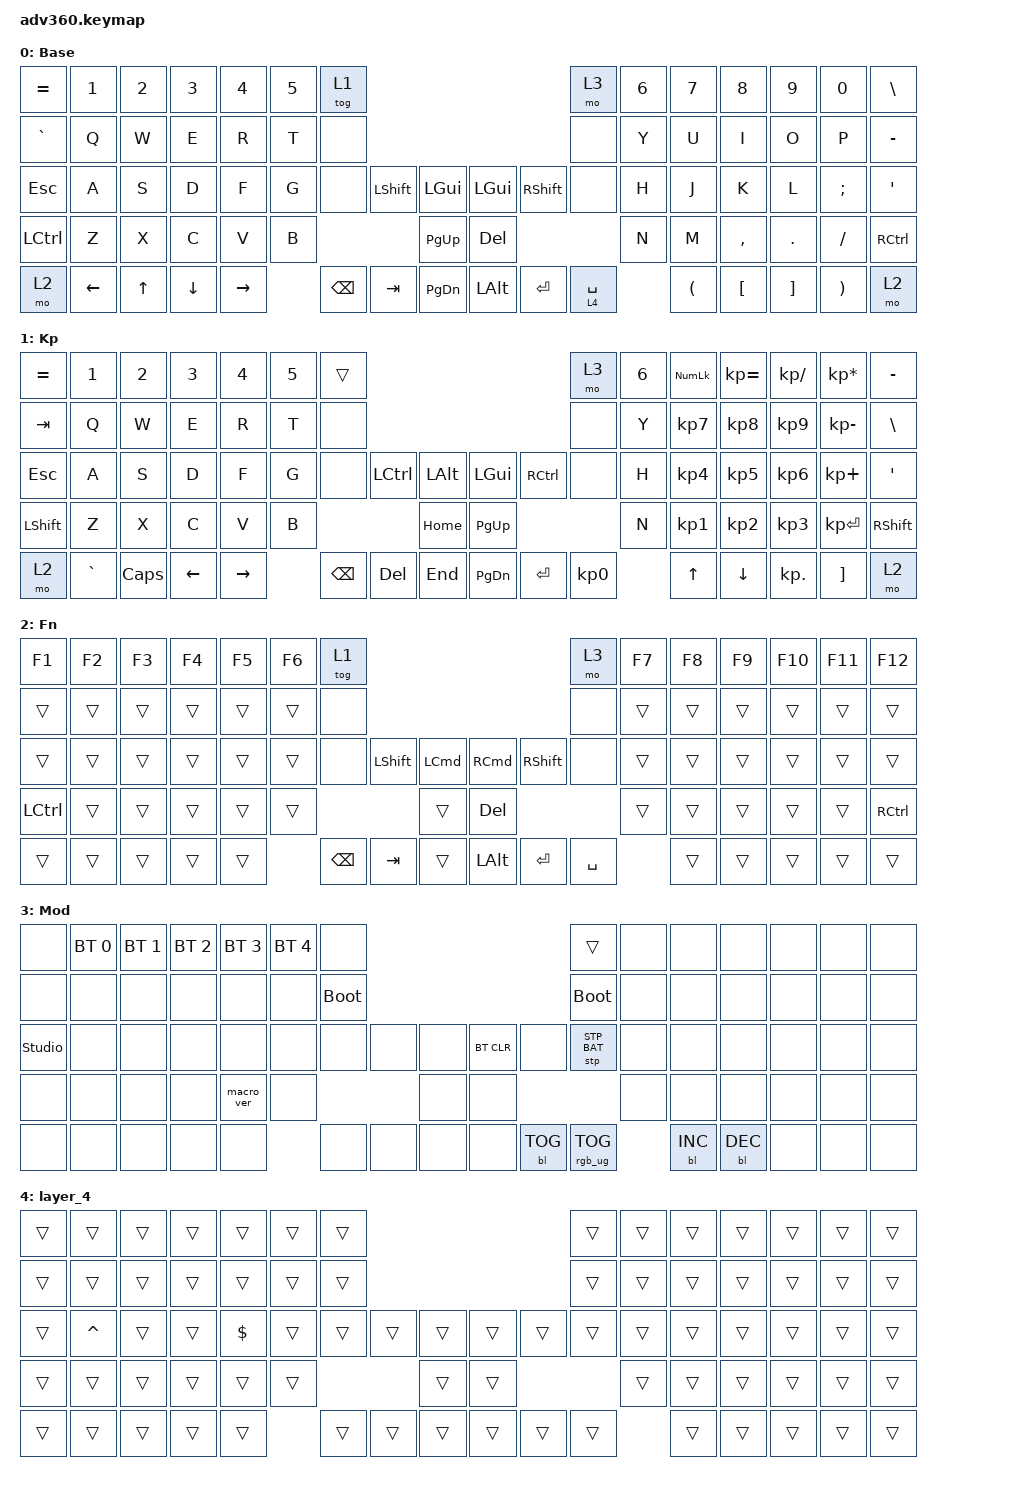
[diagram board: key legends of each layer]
#include <dt-bindings/zmk/stp.h>
#include <behaviors.dtsi>
#include <dt-bindings/zmk/backlight.h>
#include <dt-bindings/zmk/bt.h>
#include <dt-bindings/zmk/keys.h>
#include <dt-bindings/zmk/rgb.h>

/ {
    behaviors {
        #include "macros.dtsi"
      #include "version.dtsi"

        hm: homerow_mods {
            compatible = "zmk,behavior-hold-tap";
            label = "HOMEROW_MODS";
            #binding-cells = <2>;
            tapping-term-ms = <200>;
            quick_tap_ms = <175>;
            flavor = "tap-preferred";
            bindings = <&kp>, <&kp>;
        };

        space_layer_tap: space_layer_tap {
            compatible = "zmk,behavior-hold-tap";
            label = "SPACE_LAYER_TAP";
            bindings = <&mo>, <&kp>;

            #binding-cells = <2>;
            tapping-term-ms = <350>;
            flavor = "tap-preferred";
        };
    };

    keymap {
        compatible = "zmk,keymap";

        default_layer {
            display-name = "Base";
            bindings = <
&kp EQUAL  &kp N1          &kp N2        &kp N3          &kp N4     &kp N5  &tog 1                                                                 &mo 3        &kp N6  &kp N7                &kp N8            &kp N9    &kp N0    &kp BSLH
&kp GRAVE  &kp Q           &kp W         &kp E           &kp R      &kp T   &none                                                                  &none        &kp Y   &kp U                 &kp I             &kp O     &kp P     &kp MINUS
&kp ESC    &kp A           &kp S         &kp D           &kp F      &kp G   &none     &kp LEFT_SHIFT  &kp LGUI           &kp LGUI      &kp RSHIFT  &none        &kp H   &kp J                 &kp K             &kp L     &kp SEMI  &kp SQT
&kp LCTRL  &kp Z           &kp X         &kp C           &kp V      &kp B                             &kp PG_UP          &kp DEL                                &kp N   &kp M                 &kp COMMA         &kp DOT   &kp FSLH  &kp RCTRL
&mo 2      &kp LEFT_ARROW  &kp UP_ARROW  &kp DOWN_ARROW  &kp RIGHT          &kp BSPC  &kp TAB         &kp PAGE_DOWN      &kp LEFT_ALT  &kp ENTER   &lt 4 SPACE          &kp LEFT_PARENTHESIS  &kp LEFT_BRACKET  &kp RBKT  &kp RPAR  &mo 2
            >;
        };

        keypad {
            display-name = "Kp";
            bindings = <
&kp EQUAL  &kp N1     &kp N2    &kp N3    &kp N4     &kp N5  &trans                                                   &mo 3      &kp N6  &kp KP_NUM  &kp KP_EQUAL  &kp KP_DIVIDE  &kp KP_MULTIPLY  &kp MINUS
&kp TAB    &kp Q      &kp W     &kp E     &kp R      &kp T   &none                                                    &none      &kp Y   &kp KP_N7   &kp KP_N8     &kp KP_N9      &kp KP_MINUS     &kp BSLH
&kp ESC    &kp A      &kp S     &kp D     &kp F      &kp G   &none     &kp LCTRL  &kp LALT      &kp LGUI   &kp RCTRL  &none      &kp H   &kp KP_N4   &kp KP_N5     &kp KP_N6      &kp KP_PLUS      &kp SQT
&kp LSHFT  &kp Z      &kp X     &kp C     &kp V      &kp B                        &kp HOME      &kp PG_UP                        &kp N   &kp KP_N1   &kp KP_N2     &kp KP_N3      &kp KP_ENTER     &kp RSHFT
&mo 2      &kp GRAVE  &kp CAPS  &kp LEFT  &kp RIGHT          &kp BSPC  &kp DEL    &kp END       &kp PG_DN  &kp ENTER  &kp KP_N0          &kp UP      &kp DOWN      &kp KP_DOT     &kp RBKT         &mo 2
            >;
        };

        fn {
            display-name = "Fn";
            bindings = <
&kp F1            &kp F2  &kp F3  &kp F4  &kp F5  &kp F6  &tog 1                                                                                   &mo 3      &kp F7  &kp F8  &kp F9  &kp F10  &kp F11  &kp F12
&trans            &trans  &trans  &trans  &trans  &trans  &none                                                                                    &none      &trans  &trans  &trans  &trans   &trans   &trans
&trans            &trans  &trans  &trans  &trans  &trans  &none          &kp LEFT_SHIFT  &kp LEFT_COMMAND      &kp RIGHT_COMMAND  &kp RIGHT_SHIFT  &none      &trans  &trans  &trans  &trans   &trans   &trans
&kp LEFT_CONTROL  &trans  &trans  &trans  &trans  &trans                                 &trans                &kp DELETE                                     &trans  &trans  &trans  &trans   &trans   &kp RCTRL
&trans            &trans  &trans  &trans  &trans          &kp BACKSPACE  &kp TAB         &trans                &kp LEFT_ALT       &kp RET          &kp SPACE          &trans  &trans  &trans   &trans   &trans
            >;
        };

        mod {
            display-name = "Mod";
            bindings = <
&none           &bt BT_SEL 0  &bt BT_SEL 1  &bt BT_SEL 2  &bt BT_SEL 3  &bt BT_SEL 4  &none                                                  &trans           &none  &none       &none       &none  &none  &none
&none           &none         &none         &none         &none         &none         &bootloader                                            &bootloader      &none  &none       &none       &none  &none  &none
&studio_unlock  &none         &none         &none         &none         &none         &none        &none  &none      &bt BT_CLR  &none       &stp STP_BAT     &none  &none       &none       &none  &none  &none
&none           &none         &none         &none         &macro_ver    &none                             &none      &none                                    &none  &none       &none       &none  &none  &none
&none           &none         &none         &none         &none                       &none        &none  &none      &none       &bl BL_TOG  &rgb_ug RGB_TOG         &bl BL_INC  &bl BL_DEC  &none  &none  &none
            >;
        };

        layer_4 {
            bindings = <
&trans  &trans     &trans  &trans  &trans      &trans  &trans                                      &trans  &trans  &trans  &trans  &trans  &trans  &trans
&trans  &trans     &trans  &trans  &trans      &trans  &trans                                      &trans  &trans  &trans  &trans  &trans  &trans  &trans
&trans  &kp CARET  &trans  &trans  &kp DOLLAR  &trans  &trans  &trans  &trans      &trans  &trans  &trans  &trans  &trans  &trans  &trans  &trans  &trans
&trans  &trans     &trans  &trans  &trans      &trans                  &trans      &trans                  &trans  &trans  &trans  &trans  &trans  &trans
&trans  &trans     &trans  &trans  &trans              &trans  &trans  &trans      &trans  &trans  &trans          &trans  &trans  &trans  &trans  &trans
            >;
        };
    };
};
